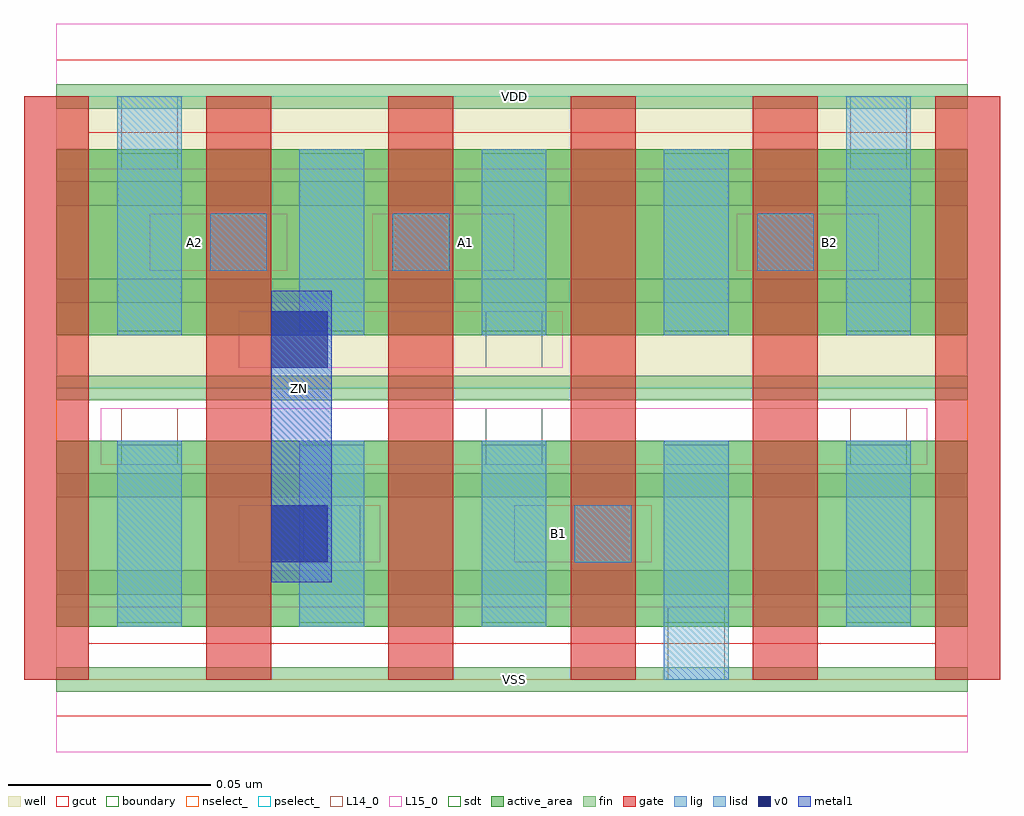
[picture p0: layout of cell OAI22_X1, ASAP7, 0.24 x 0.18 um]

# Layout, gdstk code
import gdstk
lib = gdstk.Library(unit=1e-6, precision=1e-09)
def R(c, l, rs):  # rectangles x0, y0, x1, y1
    for r in rs: c.add(gdstk.rectangle(r[:2], r[2:], *l))
def A(c, l, x, y, w, h, nx, ny, dx, dy):  # array of equal rectangles
    R(c, l, [(x+i*dx, y+j*dy, x+i*dx+w, y+j*dy+h) for i in range(nx) for j in range(ny)])
def P(c, l, *ps):  # polygons
    for p in ps: c.add(gdstk.Polygon(p, *l))
well = (1, 0)
fin = (2, 0)
gate = (7, 0)
gcut = (10, 0)
active_area = (11, 0)
nselect_ = (12, 0)
pselect_ = (13, 0)
L14_0 = (14, 0)
L15_0 = (15, 0)
lig = (16, 0)
lisd = (17, 0)
v0 = (18, 0)
metal1 = (19, 0)
sdt = (88, 0)
boundary = (100, 0)

oai22_x1 = lib.new_cell('OAI22_X1')
R(oai22_x1, well, [(0,0.072,0.225,0.144)])
A(oai22_x1, fin, 0, -0.003, 0.225, 0.006, 1, 7, 0, 0.024)
A(oai22_x1, gate, -0.008, 0, 0.016, 0.144, 6, 1, 0.045, 0)
P(oai22_x1, gcut, [(0,-0.009),(0,0),(-0.008,0),(-0.008,0.135),(0.008,0.135),(0.008,0.009),(0.217,0.009),(0.217,0.135),(-0.008,0.135),(-0.008,0.144),(0,0.144),(0,0.153),(0.225,0.153),(0.225,0.144),(0.233,0.144),(0.233,0),(0.225,0),(0.225,-0.009)])
R(oai22_x1, active_area, [(0,0.013,0.225,0.059), (0,0.085,0.225,0.131)])
R(oai22_x1, nselect_, [(0,0,0.225,0.072)])
R(oai22_x1, pselect_, [(0,0.072,0.225,0.144)])
A(oai22_x1, L14_0, 0.016, 0.053, 0.014, 0.014, 3, 1, 0.09, 0)
R(oai22_x1, L14_0, [(0.151,0,0.165,0.018), (0.061,0.029,0.075,0.043), (0.128,0.029,0.142,0.043), (0.106,0.077,0.12,0.091), (0.038,0.101,0.052,0.115), (0.083,0.101,0.097,0.115), (0.173,0.101,0.187,0.115), (0.016,0.126,0.03,0.144), (0.196,0.126,0.21,0.144)])
R(oai22_x1, L15_0, [(0,-0.018,0.225,0.018), (0.045,0.029,0.08,0.043), (0.113,0.029,0.147,0.043), (0.011,0.053,0.215,0.067), (0.045,0.077,0.125,0.091), (0.023,0.101,0.057,0.115), (0.078,0.101,0.113,0.115), (0.168,0.101,0.203,0.115), (0,0.126,0.225,0.162)])
R(oai22_x1, lig, [(0.128,0.029,0.142,0.043), (0.038,0.101,0.052,0.115), (0.083,0.101,0.097,0.115), (0.173,0.101,0.187,0.115)])
A(oai22_x1, lisd, 0.015, 0.013, 0.016, 0.046, 3, 1, 0.045, 0)
A(oai22_x1, lisd, 0.06, 0.085, 0.016, 0.046, 3, 1, 0.045, 0)
R(oai22_x1, lisd, [(0.15,0,0.166,0.059), (0.195,0.013,0.211,0.059), (0.015,0.085,0.031,0.144), (0.195,0.085,0.211,0.144)])
R(oai22_x1, v0, [(0.053,0.029,0.067,0.043), (0.053,0.077,0.067,0.091)])
R(oai22_x1, metal1, [(0.053,0.024,0.068,0.096)])
A(oai22_x1, sdt, 0.015, 0.014, 0.016, 0.044, 5, 2, 0.045, 0.072)
R(oai22_x1, boundary, [(0,0,0.225,0.144)])
oai22_x1.add(gdstk.Label('A1', (0.101,0.108), layer=15, texttype=251))
oai22_x1.add(gdstk.Label('VSS', (0.113,0), layer=15, texttype=251))
oai22_x1.add(gdstk.Label('VDD', (0.113,0.144), layer=15, texttype=251))
oai22_x1.add(gdstk.Label('A2', (0.034,0.108), layer=15, texttype=251))
oai22_x1.add(gdstk.Label('VSS', (0.113,0), layer=15, texttype=251))
oai22_x1.add(gdstk.Label('VDD', (0.113,0.144), layer=15, texttype=251))
oai22_x1.add(gdstk.Label('B1', (0.124,0.036), layer=15, texttype=251))
oai22_x1.add(gdstk.Label('VSS', (0.113,0), layer=15, texttype=251))
oai22_x1.add(gdstk.Label('VDD', (0.113,0.144), layer=15, texttype=251))
oai22_x1.add(gdstk.Label('VSS', (0.113,0), layer=15, texttype=251))
oai22_x1.add(gdstk.Label('VDD', (0.113,0.144), layer=15, texttype=251))
oai22_x1.add(gdstk.Label('B2', (0.191,0.108), layer=15, texttype=251))
oai22_x1.add(gdstk.Label('VSS', (0.113,0), layer=15, texttype=251))
oai22_x1.add(gdstk.Label('VDD', (0.113,0.144), layer=15, texttype=251))
oai22_x1.add(gdstk.Label('VSS', (0.113,0), layer=3, texttype=251))
oai22_x1.add(gdstk.Label('VSS', (0.113,0), layer=3, texttype=251))
oai22_x1.add(gdstk.Label('VSS', (0.113,0), layer=3, texttype=251))
oai22_x1.add(gdstk.Label('VSS', (0.113,0), layer=3, texttype=251))
oai22_x1.add(gdstk.Label('VSS', (0.113,0), layer=3, texttype=251))
oai22_x1.add(gdstk.Label('VDD', (0.113,0.144), layer=1, texttype=251))
oai22_x1.add(gdstk.Label('VDD', (0.113,0.144), layer=1, texttype=251))
oai22_x1.add(gdstk.Label('VDD', (0.113,0.144), layer=1, texttype=251))
oai22_x1.add(gdstk.Label('VDD', (0.113,0.144), layer=1, texttype=251))
oai22_x1.add(gdstk.Label('VDD', (0.113,0.144), layer=1, texttype=251))
oai22_x1.add(gdstk.Label('ZN', (0.06,0.072), layer=19, texttype=251))

lib.write_gds('OAI22_X1.gds')
